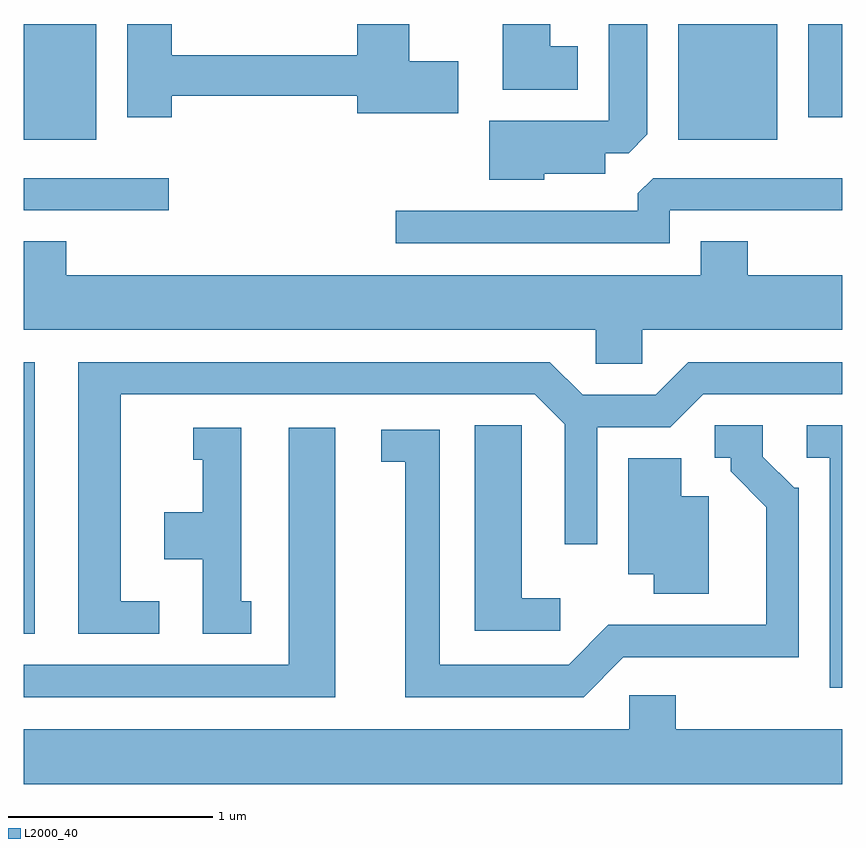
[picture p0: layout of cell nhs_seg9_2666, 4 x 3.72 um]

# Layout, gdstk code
import gdstk
lib = gdstk.Library(unit=1e-6, precision=1e-09)
def R(c, l, rs):  # rectangles x0, y0, x1, y1
    for r in rs: c.add(gdstk.rectangle(r[:2], r[2:], *l))
def P(c, l, *ps):  # polygons
    for p in ps: c.add(gdstk.Polygon(p, *l))
L2000_40 = (2000, 40)

nhs_seg9_2666 = lib.new_cell('nhs_seg9_2666')
R(nhs_seg9_2666, L2000_40, [(263.611,1981.451,263.664,1982.779), (263.611,1983.521,264.318,1983.679), (263.611,1983.866,263.964,1984.432), (266.811,1983.866,267.294,1984.432), (267.446,1983.976,267.611,1984.432)])
P(nhs_seg9_2666, L2000_40, [(266.154,1983.701),(266.454,1983.701),(266.454,1983.801),(266.569,1983.801),(266.659,1983.892),(266.659,1984.432),(266.471,1984.432),(266.471,1983.959),(265.886,1983.959),(265.886,1983.671),(266.154,1983.671)],
  [(264.334,1984.081),(265.241,1984.081),(265.241,1983.996),(265.734,1983.996),(265.734,1984.249),(265.494,1984.249),(265.494,1984.432),(265.241,1984.432),(265.241,1984.279),(264.334,1984.279),(264.334,1984.432),(264.116,1984.432),(264.116,1983.976),(264.334,1983.976)],
  [(266.319,1984.324),(266.184,1984.324),(266.184,1984.432),(265.951,1984.432),(265.951,1984.111),(266.319,1984.111)],
  [(266.769,1983.521),(267.611,1983.521),(267.611,1983.679),(266.687,1983.679),(266.611,1983.604),(266.611,1983.519),(265.428,1983.519),(265.428,1983.361),(266.769,1983.361)],
  [(266.634,1982.936),(267.611,1982.936),(267.611,1983.204),(267.149,1983.204),(267.149,1983.369),(266.921,1983.369),(266.921,1983.204),(263.819,1983.204),(263.819,1983.369),(263.611,1983.369),(263.611,1982.936),(266.406,1982.936),(266.406,1982.771),(266.634,1982.771)],
  [(264.273,1981.609),(264.084,1981.609),(264.084,1982.621),(266.109,1982.621),(266.256,1982.474),(266.256,1981.888),(266.414,1981.888),(266.414,1982.461),(266.772,1982.461),(266.932,1982.621),(267.611,1982.621),(267.611,1982.779),(266.859,1982.779),(266.699,1982.619),(266.342,1982.619),(266.182,1982.779),(263.876,1982.779),(263.876,1981.451),(264.273,1981.451)],
  [(266.233,1981.624),(266.044,1981.624),(266.044,1982.469),(265.816,1982.469),(265.816,1981.466),(266.233,1981.466)],
  [(266.542,1981.336),(267.399,1981.336),(267.399,1982.164),(267.377,1982.164),(267.224,1982.317),(267.224,1982.469),(266.988,1982.469),(266.988,1982.311),(267.066,1982.311),(267.066,1982.244),(267.241,1982.069),(267.241,1981.494),(266.469,1981.494),(266.274,1981.299),(265.644,1981.299),(265.644,1982.449),(265.358,1982.449),(265.358,1982.291),(265.476,1982.291),(265.476,1981.141),(266.347,1981.141)],
  [(267.611,1982.469),(267.438,1982.469),(267.438,1982.311),(267.551,1982.311),(267.551,1981.186),(267.611,1981.186)],
  [(265.134,1982.459),(264.906,1982.459),(264.906,1981.299),(263.611,1981.299),(263.611,1981.141),(265.134,1981.141)],
  [(264.723,1981.609),(264.674,1981.609),(264.674,1982.459),(264.438,1982.459),(264.438,1982.301),(264.486,1982.301),(264.486,1982.044),(264.296,1982.044),(264.296,1981.816),(264.486,1981.816),(264.486,1981.451),(264.723,1981.451)],
  [(266.959,1982.124),(266.824,1982.124),(266.824,1982.309),(266.566,1982.309),(266.566,1981.741),(266.691,1981.741),(266.691,1981.646),(266.959,1981.646)],
  [(267.611,1980.984),(266.799,1980.984),(266.799,1981.149),(266.571,1981.149),(266.571,1980.984),(263.611,1980.984),(263.611,1980.716),(267.611,1980.716)])

lib.write_gds('nhs_seg9_2666.gds')
